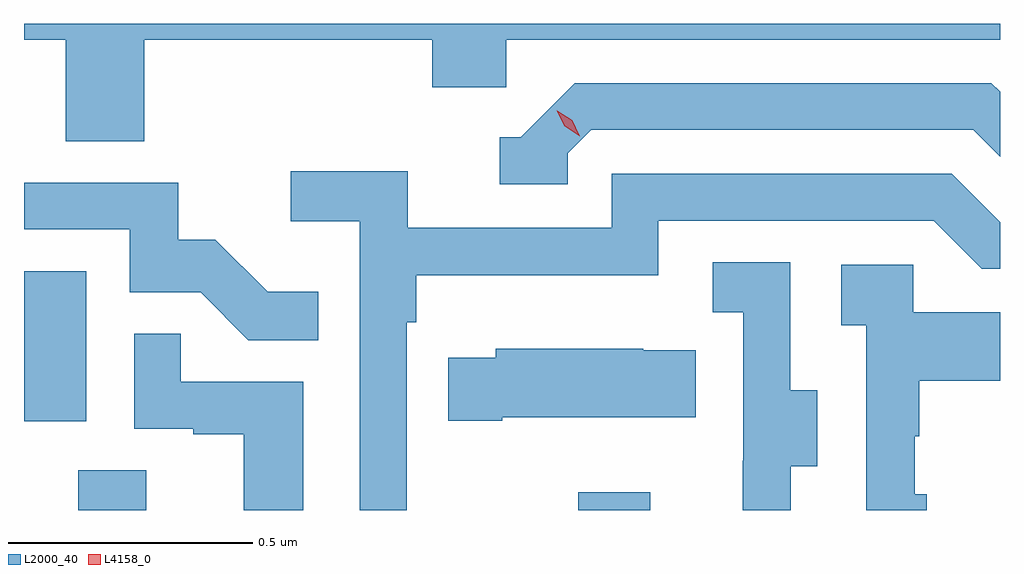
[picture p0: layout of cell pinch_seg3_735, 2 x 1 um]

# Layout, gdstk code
import gdstk
lib = gdstk.Library(unit=1e-6, precision=1e-09)
def R(c, l, rs):  # rectangles x0, y0, x1, y1
    for r in rs: c.add(gdstk.rectangle(r[:2], r[2:], *l))
def P(c, l, *ps):  # polygons
    for p in ps: c.add(gdstk.Polygon(p, *l))
L2000_40 = (2000, 40)
L4158_0 = (4158, 0)

pinch_seg3_735 = lib.new_cell('pinch_seg3_735')
R(pinch_seg3_735, L2000_40, [(862.547,747.904,862.687,747.986), (863.572,747.904,863.719,747.94), (862.436,748.086,862.564,748.393)])
P(pinch_seg3_735, L2000_40, [(862.682,748.868),(863.273,748.868),(863.273,748.77),(863.424,748.77),(863.424,748.868),(864.436,748.868),(864.436,748.9),(862.436,748.9),(862.436,748.868),(862.522,748.868),(862.522,748.66),(862.682,748.66)],
  [(863.55,748.635),(863.598,748.683),(864.381,748.683),(864.436,748.628),(864.436,748.761),(864.418,748.779),(863.565,748.779),(863.454,748.668),(863.411,748.668),(863.411,748.572),(863.55,748.572)],
  [(863.22,748.289),(863.24,748.289),(863.24,748.385),(863.736,748.385),(863.736,748.497),(864.3,748.497),(864.399,748.398),(864.436,748.398),(864.436,748.494),(864.337,748.593),(863.64,748.593),(863.64,748.482),(863.222,748.482),(863.222,748.598),(862.983,748.598),(862.983,748.496),(863.124,748.496),(863.124,747.904),(863.22,747.904)],
  [(863.039,748.351),(862.935,748.351),(862.828,748.458),(862.752,748.458),(862.752,748.575),(862.436,748.575),(862.436,748.479),(862.653,748.479),(862.653,748.35),(862.798,748.35),(862.896,748.252),(863.039,748.252)],
  [(864.007,747.994),(864.061,747.994),(864.061,748.149),(864.006,748.149),(864.006,748.412),(863.847,748.412),(863.847,748.309),(863.91,748.309),(863.91,748.005),(863.909,748.005),(863.909,747.904),(864.007,747.904)],
  [(864.286,747.936),(864.261,747.936),(864.261,748.055),(864.271,748.055),(864.271,748.169),(864.436,748.169),(864.436,748.309),(864.258,748.309),(864.258,748.407),(864.111,748.407),(864.111,748.283),(864.162,748.283),(864.162,747.904),(864.286,747.904)],
  [(863.008,748.167),(862.757,748.167),(862.757,748.265),(862.662,748.265),(862.662,748.071),(862.783,748.071),(862.783,748.059),(862.886,748.059),(862.886,747.904),(863.008,747.904)],
  [(863.416,748.094),(863.813,748.094),(863.813,748.231),(863.705,748.231),(863.705,748.234),(863.403,748.234),(863.403,748.216),(863.305,748.216),(863.305,748.087),(863.416,748.087)])
P(pinch_seg3_735, L4158_0, [(863.575,748.67),(863.544,748.69),(863.528,748.722),(863.528,748.722),(863.529,748.722),(863.559,748.703),(863.575,748.67),(863.575,748.67)])

lib.write_gds('pinch_seg3_735.gds')
